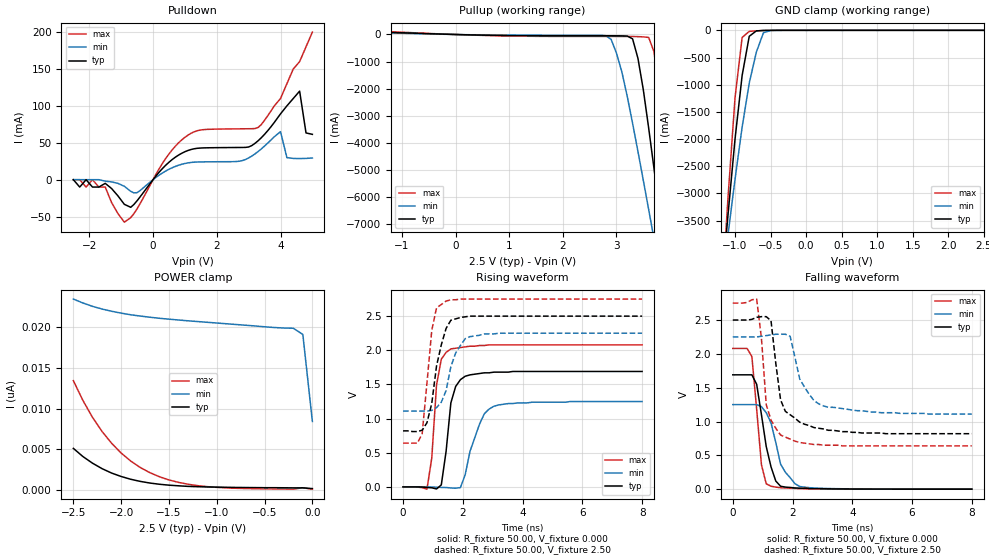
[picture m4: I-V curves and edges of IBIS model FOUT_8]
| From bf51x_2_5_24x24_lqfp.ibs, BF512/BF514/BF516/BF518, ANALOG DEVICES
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|   Model prw0408swcdg_3v_25
[Model]   FOUT_8
Model_type   I/O
Polarity   Non-Inverting
Enable   Active-Low
Vinl =   0.70V
Vinh =   1.70V
Vmeas =   1.20V
Cref =  50.00pF
Rref =   1.00M
Vref =  0.000V
C_comp   4.87pF   4.38pF   5.35pF
[Temperature Range]   25.00   0.12k   -40.00
[Voltage Range]   2.50V   2.25V   2.75V
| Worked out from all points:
|   slope of the pulldown table from 0 to 0.375 V, typ, clamps not added: 20.2 ohm
|   slope of the pullup table from 0 to 0.375 V, typ, clamps not added: 20.2 ohm
|   GND clamp passes 1 mA (typ) near -0.53 V on its own axis
|   rising waveform, R_fixture 50.00, V_fixture 0.000: 20-80 % time 301ps typ, 532ps min, 235ps max; typ from 0 V to 1.69 V
|   rising waveform, R_fixture 50.00, V_fixture 2.50: 20-80 % time 413ps typ, 478ps min, 277ps max; typ from 0.82 V to 2.5 V
|   falling waveform, R_fixture 50.00, V_fixture 0.000: 20-80 % time 405ps typ, 501ps min, 248ps max; typ from 1.69 V to 0 V
|   falling waveform, R_fixture 50.00, V_fixture 2.50: 20-80 % time 392ps typ, 627ps min, 318ps max; typ from 2.5 V to 0.82 V
[Pulldown]
| voltage   I(typ)   I(min)   I(max)
-2.5V     0A         0A         0A
-1.5V     -5mA       -2mA       -10mA
-900mV    -33.4mA    -9mA       -57.6mA
-500mV    -28.54mA   -17.58mA   -39.44mA
1V        37.88mA    21.94mA    57.43mA
3V        44.3mA     29.45mA    69.02mA
3.4V      56.95mA    41.79mA    74.82mA
4V        89.19mA    65.09mA    110mA
4.2V      100mA      29.92mA    130mA
4.6V      120mA      28.6mA     160mA
4.8V      63.36mA    28.84mA    180mA
5V        61.44mA    29.36mA    200mA
[Pullup]
| voltage   I(typ)   I(min)   I(max)
-2.5V     14.15mA    2.47mA     45.09mA
2.8V      -46.96mA   -42.82mA   -72.11mA
2.9V      -47.06mA   -180mA     -72.23mA
3V        -47.56mA   -690mA     -72.33mA
3.3V      -160mA     -3.28A     -74.26mA
3.4V      -880mA     -4.32A     -79.19mA
3.6V      -3.46A     -6.47A     -110mA
3.7V      -4.96A     -7.56A     -640mA
3.8V      -6.5A      -8.65A     -2.2A
4V        -9.62A     -10.85A    -6.34A
4.2V      -12.77A    -13.07A    -10.72A
5V        -25.49A    -21.97A    -28.57A
[GND_clamp]
| voltage   I(typ)   I(min)   I(max)
-2.5V     -25.44A    -19.16A    -34.1A
-1.2V     -4.91A     -4.82A     -5.19A
-1.1V     -3.41A     -3.77A     -3.1A
-1V       -2A        -2.74A     -1.24A
-900mV    -830mA     -1.78A     -130mA
-800mV    -110mA     -970mA     -19.37mA
-700mV    -10.09mA   -400mA     -9.85mA
-600mV    -2.6mA     -44.25mA   -3.52mA
-500mV    -460uA     -4.5mA     -550uA
2.5V      210pA      19.84nA    120pA
[POWER_clamp]
| voltage   I(typ)   I(min)   I(max)
-2.5V     5.13nA     23.39nA    13.41nA
-2.4V     4.13nA     22.91nA    10.99nA
-2.3V     3.32nA     22.5nA     8.93nA
-2.1V     2.11nA     21.9nA     5.76nA
-1.9V     1.35nA     21.47nA    3.58nA
-1.7V     890pA      21.17nA    2.16nA
-1.5V     630pA      20.93nA    1.27nA
-1.2V     440pA      20.64nA    570pA
-800mV    350pA      20.28nA    250pA
-200mV    300pA      19.82nA    150pA
-100mV    300pA      19.07nA    310pA
0V        210pA      8.42nA     140pA
[Ramp]
| variable   typ   min   max
dV/dt_r   1.02/0.30n   0.75/0.50n   1.25/0.19n
dV/dt_f   1.01/0.40n   0.68/0.65n   1.27/0.26n
R_load = 50.00
[Rising Waveform]
R_fixture = 50.00
V_fixture = 0.000
V_fixture_min = 0.000
V_fixture_max = 0.000
L_fixture = 0.000H
C_fixture = 0.000F
| time   V(typ)   V(min)   V(max)
0s        0V         0V         0V
800ps     -9.11mV    -780uV     -33.44mV
960ps     -13.22mV   -2.26mV    420mV
1.12ns    -30.54mV   -4.75mV    1.49V
1.28ns    28.95mV    -7.63mV    1.87V
1.6ns     1.23V      -15.62mV   2.02V
1.92ns    1.57V      -10.23mV   2.04V
2.56ns    1.66V      920mV      2.07V
3.04ns    1.68V      1.18V      2.08V
8ns       1.69V      1.25V      2.08V
[Rising Waveform]
R_fixture = 50.00
V_fixture = 2.50
V_fixture_min = 2.25
V_fixture_max = 2.75
L_fixture = 0.000H
C_fixture = 0.000F
| time   V(typ)   V(min)   V(max)
0s        820mV      1.11V      640mV
480ps     810mV      1.11V      640mV
640ps     830mV      1.11V      780mV
800ps     940mV      1.11V      1.52V
960ps     1.22V      1.12V      2.29V
1.12ns    1.77V      1.16V      2.62V
1.44ns    2.32V      1.41V      2.72V
1.76ns    2.46V      1.96V      2.74V
2.24ns    2.5V       2.2V       2.75V
8ns       2.5V       2.25V      2.75V
[Falling Waveform]
R_fixture = 50.00
V_fixture = 0.000
V_fixture_min = 0.000
V_fixture_max = 0.000
L_fixture = 0.000H
C_fixture = 0.000F
| time   V(typ)   V(min)   V(max)
0s        1.69V      1.25V      2.08V
480ps     1.69V      1.25V      2.08V
640ps     1.69V      1.25V      1.96V
800ps     1.55V      1.25V      1.18V
960ps     1.1V       1.22V      360mV
1.12ns    630mV      1.13V      79.27mV
1.44ns    120mV      690mV      30.31mV
1.6ns     43.21mV    370mV      21.03mV
2.24ns    14.24mV    39.02mV    8.3mV
8ns       42.72uV    120uV      -8.09uV
[Falling Waveform]
R_fixture = 50.00
V_fixture = 2.50
V_fixture_min = 2.25
V_fixture_max = 2.75
L_fixture = 0.000H
C_fixture = 0.000F
| time   V(typ)   V(min)   V(max)
0s        2.5V       2.25V      2.75V
800ps     2.54V      2.25V      2.81V
960ps     2.55V      2.26V      2.23V
1.12ns    2.55V      2.27V      1.25V
1.28ns    2.49V      2.28V      1.02V
1.6ns     1.32V      2.29V      800mV
1.92ns    1.1V       2.26V      740mV
2.24ns    990mV      1.63V      690mV
3.04ns    890mV      1.23V      650mV
8ns       820mV      1.11V      640mV
